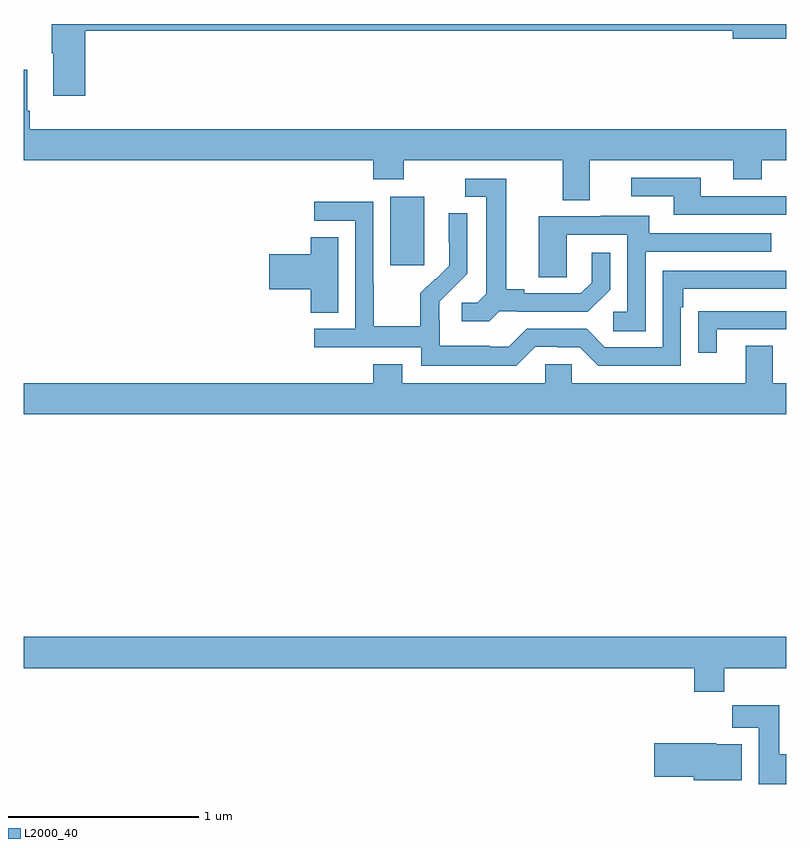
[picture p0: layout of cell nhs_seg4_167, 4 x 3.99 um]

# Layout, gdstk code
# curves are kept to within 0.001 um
import gdstk
lib = gdstk.Library(unit=1e-6, precision=1e-09)
def R(c, l, rs):  # rectangles x0, y0, x1, y1
    for r in rs: c.add(gdstk.rectangle(r[:2], r[2:], *l))
def P(c, l, *ps):  # polygons
    for p in ps: c.add(gdstk.Polygon(p, *l))
L2000_40 = (2000, 40)

nhs_seg4_167 = lib.new_cell('nhs_seg4_167')
R(nhs_seg4_167, L2000_40, [(120.923,765.633,121.102,765.994)])
P(nhs_seg4_167, L2000_40, [(119.321,766.864),(122.72,766.864),(122.72,766.822),(123,766.822),(123,766.9),(119.146,766.9),(119.146,766.747),(119.153,766.747),(119.153,766.524),(119.321,766.524)],
  [(121.969,766.184),(122.723,766.184),(122.723,766.085),(122.871,766.085),(122.871,766.184),(123,766.184),(123,766.348),(119.03,766.348),(119.03,766.444),(119.017,766.444),(119.017,766.66),(119,766.66),(119,766.184),(120.833,766.184),(120.833,766.085),(120.993,766.085),(120.993,766.184),(121.829,766.184),(121.829,765.976),(121.969,765.976)],
  [(123,765.996),(122.551,765.996),(122.551,766.092),(122.187,766.092),(122.187,765.996),(122.411,765.996),(122.411,765.9),(123,765.9)],
  [(121.494,765.393),(121.588,765.393),(121.588,765.39),(121.96,765.39),(122.076,765.506),(122.076,765.7),(121.979,765.7),(121.979,765.543),(121.922,765.486),(121.627,765.486),(121.627,765.509),(121.531,765.509),(121.531,766.089),(121.317,766.089),(121.317,765.993),(121.427,765.993),(121.427,765.485),(121.38,765.438),(121.299,765.438),(121.299,765.341),(121.442,765.341)],
  [(121.683,765.207),(121.799,765.207),(121.799,765.204),(121.917,765.204),(122.013,765.108),(122.448,765.108),(122.448,765.413),(122.461,765.413),(122.461,765.51),(123,765.51),(123,765.606),(122.352,765.606),(122.352,765.204),(122.049,765.204),(121.953,765.3),(121.638,765.3),(121.545,765.207),(121.445,765.207),(121.445,765.211),(121.182,765.211),(121.182,765.345),(121.18,765.345),(121.18,765.442),(121.326,765.59),(121.326,765.908),(121.23,765.908),(121.23,765.754),(121.232,765.754),(121.232,765.632),(121.161,765.561),(121.158,765.564),(121.081,765.487),(121.081,765.313),(120.837,765.313),(120.837,765.536),(120.834,765.536),(120.834,765.966),(120.525,765.966),(120.525,765.867),(120.738,765.867),(120.738,765.3),(120.525,765.3),(120.525,765.204),(121.086,765.204),(121.086,765.107),(121.583,765.107)],
  [(122.262,765.705),(122.921,765.705),(122.921,765.801),(122.281,765.801),(122.281,765.895),(122.027,765.895),(122.027,765.891),(121.703,765.891),(121.703,765.571),(121.848,765.571),(121.848,765.795),(122.166,765.795),(122.166,765.39),(122.094,765.39),(122.094,765.289),(122.262,765.289)],
  [(120.649,765.782),(120.506,765.782),(120.506,765.692),(120.288,765.692),(120.288,765.509),(120.506,765.509),(120.506,765.385),(120.649,765.385)],
  [(122.635,765.297),(123,765.297),(123,765.393),(122.641,765.393),(122.641,765.392),(122.539,765.392),(122.539,765.174),(122.635,765.174)],
  [(123,765.016),(122.929,765.016),(122.929,765.211),(122.789,765.211),(122.789,765.016),(121.875,765.016),(121.875,765.114),(121.737,765.114),(121.737,765.016),(120.985,765.016),(120.985,765.115),(120.833,765.115),(120.833,765.016),(119,765.016),(119,764.852),(123,764.852)],
  [(122.675,763.52),(123,763.52),(123,763.684),(119,763.684),(119,763.52),(122.519,763.52),(122.519,763.396),(122.675,763.396)],
  [(123,763.068),(122.965,763.068),(122.965,763.326),(122.716,763.326),(122.716,763.208),(122.855,763.208),(122.855,762.912),(123,762.912)],
  [(122.767,763.12),(122.634,763.12),(122.634,763.126),(122.307,763.126),(122.307,762.95),(122.516,762.95),(122.516,762.932),(122.767,762.932)])

lib.write_gds('nhs_seg4_167.gds')
